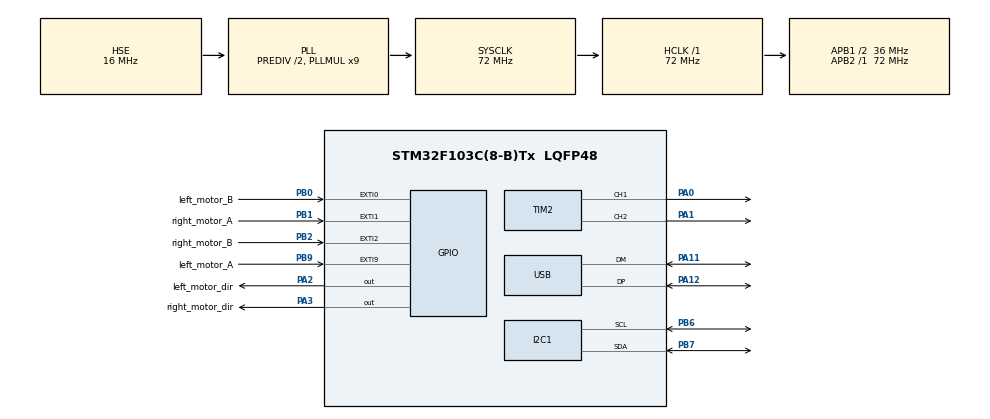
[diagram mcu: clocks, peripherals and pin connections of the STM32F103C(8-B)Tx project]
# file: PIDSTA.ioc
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Mcu.Family=STM32F1
Mcu.Name=STM32F103C(8-B)Tx
Mcu.Package=LQFP48
NVIC.EXTI0_IRQn=true\:0\:0\:false\:false\:true\:true\:true\:true
NVIC.EXTI1_IRQn=true\:0\:0\:false\:false\:true\:true\:true\:true
NVIC.EXTI2_IRQn=true\:0\:0\:false\:false\:true\:true\:true\:true
NVIC.EXTI9_5_IRQn=true\:0\:0\:false\:false\:true\:true\:true\:true
NVIC.PriorityGroup=NVIC_PRIORITYGROUP_4
NVIC.USB_LP_CAN1_RX0_IRQn=true\:0\:0\:false\:false\:true\:false\:true\:true
PA0-WKUP.Signal=S_TIM2_CH1_ETR
PA1.Signal=S_TIM2_CH2
PA11.Mode=Device
PA11.Signal=USB_DM
PA12.Mode=Device
PA12.Signal=USB_DP
PA13.Mode=Trace_Asynchronous_SW
PA13.Signal=SYS_JTMS-SWDIO
PA14.Mode=Trace_Asynchronous_SW
PA14.Signal=SYS_JTCK-SWCLK
PA2.GPIO_Label=left_motor_dir
PA2.Signal=GPIO_Output
PA3.GPIO_Label=right_motor_dir
PA3.Signal=GPIO_Output
PB0.GPIO_Label=left_motor_B
PB0.Signal=GPXTI0
PB1.GPIO_Label=right_motor_A
PB1.Signal=GPXTI1
PB2.GPIO_Label=right_motor_B
PB2.Signal=GPXTI2
PB3.Mode=Trace_Asynchronous_SW
PB3.Signal=SYS_JTDO-TRACESWO
PB6.Mode=I2C
PB6.Signal=I2C1_SCL
PB7.Mode=I2C
PB7.Signal=I2C1_SDA
PB9.GPIO_Label=left_motor_A
PB9.Signal=GPXTI9
PD0-OSC_IN.Mode=HSE-External-Oscillator
PD0-OSC_IN.Signal=RCC_OSC_IN
PD1-OSC_OUT.Mode=HSE-External-Oscillator
PD1-OSC_OUT.Signal=RCC_OSC_OUT
ProjectManager.HeapSize=0x200
ProjectManager.StackSize=0x400
ProjectManager.TargetToolchain=STM32CubeIDE
RCC.AHBFreq_Value=72000000
RCC.APB1CLKDivider=RCC_HCLK_DIV2
RCC.APB1Freq_Value=36000000
RCC.APB1TimFreq_Value=72000000
RCC.APB2Freq_Value=72000000
RCC.APB2TimFreq_Value=72000000
RCC.HCLKFreq_Value=72000000
RCC.HSEDivPLL=RCC_HSE_PREDIV_DIV2
RCC.HSE_VALUE=16000000
RCC.PLLMUL=RCC_PLL_MUL9
RCC.SYSCLKFreq_VALUE=72000000
RCC.SYSCLKSource=RCC_SYSCLKSOURCE_PLLCLK
RCC.USBFreq_Value=48000000
RCC.USBPrescaler=RCC_USBCLKSOURCE_PLL_DIV1_5
SH.S_TIM2_CH1_ETR.0=TIM2_CH1,PWM Generation1 CH1
SH.S_TIM2_CH2.0=TIM2_CH2,PWM Generation2 CH2
TIM2.AutoReloadPreload=TIM_AUTORELOAD_PRELOAD_ENABLE
TIM2.Channel-PWM\ Generation1\ CH1=TIM_CHANNEL_1
TIM2.Channel-PWM\ Generation2\ CH2=TIM_CHANNEL_2
USB_DEVICE.CLASS_NAME_FS=CDC
USB_DEVICE.VirtualMode=Cdc
USB_DEVICE.VirtualModeFS=Cdc_FS
VP_USB_DEVICE_VS_USB_DEVICE_CDC_FS.Mode=CDC_FS
board=custom

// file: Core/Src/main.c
/* USER CODE BEGIN Header */
/**
  ******************************************************************************
  * @file           : main.c
  * @brief          : Main program body
  ******************************************************************************
  * @attention
  *
  * Copyright (c) 2023 STMicroelectronics.
  * All rights reserved.
  *
  * This software is licensed under terms that can be found in the LICENSE file
  * in the root directory of this software component.
  * If no LICENSE file comes with this software, it is provided AS-IS.
  *
  ******************************************************************************
  */
/* USER CODE END Header */
#include "main.h"
#include "usb_device.h"

/* USER CODE BEGIN Includes */
#include "imu_f1.h"
#include "encoder.h"
/* USER CODE END Includes */

/* USER CODE BEGIN PD */
#define rad2deg  57.29567015
#define MAX_ANGLE 0.24
#define MIN_PWM 2
#define Kp 400
#define Ki 400
#define Kd 0.01
#define PWM_COUNTER 65535
#define PWM_CONV PWM_COUNTER/100
#define MOTOR_DEADZONE 0.01
#define Kp_pos 100
#define Ki_pos 0
/* USER CODE END PD */

/* USER CODE BEGIN PM */
void motor(double L, double R);
double abs2(double x);
/* USER CODE END PM */

I2C_HandleTypeDef hi2c1;

TIM_HandleTypeDef htim2;

/* USER CODE BEGIN PV */
encoder encoderA,encoderB;

int16_t encoderA_pos = 0;
double right_motor_pos = 0, left_motor_pos = 0;
double encoder_step = 0.00872664625997;
/* USER CODE END PV */

void SystemClock_Config(void);
static void MX_GPIO_Init(void);
static void MX_I2C1_Init(void);
static void MX_TIM2_Init(void);

/* USER CODE BEGIN 0 */

// to fix usbc_dc

//510 memset(pdev->pClassData,0,sizeof(USBD_CDC_HandleTypeDef)); // THIS LINE WAS ADDED

/* USER CODE END 0 */

int main(void)
{

  /* MCU Configuration--------------------------------------------------------*/

  /* Reset of all peripherals, Initializes the Flash interface and the Systick. */
  HAL_Init();

  /* Configure the system clock */
  SystemClock_Config();

  /* Initialize all configured peripherals */
  MX_GPIO_Init();
  MX_I2C1_Init();
  MX_USB_DEVICE_Init();
  MX_TIM2_Init();
  /* USER CODE BEGIN 2 */
  char  buff2[128];
  uint32_t t1,t2;

  imu_t mpu;
  uint16_t pwm;

  double control = 0;
  double dt = 10;
  const double th_bias = -.025;
  double angle_error = 0;
  double prev_angle_error = 0;
  double speed = 0;
  double last_pos = 0;
  double prev_speed = 0;
  double ss = 0;
  double sign;
  double integrator = 0;
  double dth = 0;
  double U1, U2;
  double delta = 0;
  double prev_dth = 0;
  double prev_delta = 0;
  const double F = 85;
     const double F1 = 0.3*sqrt(F);
     const double F2 = F*10;
     const double A = 2.8;
     const double K_th = 15;
     const double K_dth = 0.01;
     const double K_speed = 0;
     const double K_pos = 0;
  unsigned int reached_eq = 0;

 double Ppos = 0.05;
double Ipos = 0.0001;
double Dpos = 0.000000002;
double integrator2 = 0.00000;
double set_point = 0;

  HAL_TIM_PWM_Start(&htim2, TIM_CHANNEL_1);
  HAL_TIM_PWM_Start(&htim2, TIM_CHANNEL_2);

  //counter period 65535

  //initializing encoder variables
  encoder_init(&encoderA,GPIOB,right_motor_A_Pin,GPIOB,right_motor_B_Pin,encoder_step);
  encoder_init(&encoderB,GPIOB,left_motor_A_Pin,GPIOB,left_motor_B_Pin,encoder_step);

  //wait for the mpu to init.
  while (imu_init(&hi2c1) == 1) {
		  HAL_Delay(10);
		  sprintf(buff2,"waiting for the imu to boot, \r\n");
  }
  imu_tune(&hi2c1,&mpu);

  /* USER CODE END 2 */

  /* Infinite loop */
  /* USER CODE BEGIN WHILE */

  imu_read(&hi2c1,&mpu);
  angle_error = mpu.th + th_bias;
  prev_angle_error = angle_error;

  motor(30,30);
  HAL_Delay(100);
  motor(0,0);

  while (1)
  {
	  last_pos = encoderA.pos;
	  t1 = HAL_GetTick();
	  HAL_Delay(1);
	  imu_read(&hi2c1,&mpu);

	  imu_complimentary(&mpu,dt);

	  dth = (angle_error - prev_angle_error)/dt;
	  speed = (encoderA.pos - last_pos)/dt;
	  if (abs2(angle_error) < 0.05) {
		  if (abs2(integrator2) < 0.015) {
			  integrator2 = integrator2 + Ipos*encoderA.pos*dt;
		  }
		  set_point = Ppos*encoderA.pos + integrator2 + Dpos*speed;
	  }

	  angle_error = mpu.th + th_bias - set_point;

	  // apply control only if the system is upright
	  if (abs2(angle_error) < 0.3 && reached_eq == 1) {
		  delta = K_th*angle_error + K_dth*dth + K_speed*speed + K_pos*encoderA.pos;
		  ss = delta + (A*( delta - prev_delta))/dt;
		  U1 = sqrt(abs2(ss))*F1;
		  sign = ss > 0 ? 1 : -1;
		  if (abs2(integrator) < 85) {
			  integrator = integrator + F2*sign*dt;
		  }
		  control =  U1*sign + integrator;
		  control = control;

		  motor(control,control);
	  }
	  else {
		  reached_eq = abs2(angle_error) < 0.01 ? 1 : 0;
		  encoderA.pos = 0;
		  integrator = 0;
		  control = 0;
		  motor(0,0);
	  }
	  prev_delta = delta;
	  prev_angle_error = angle_error;
	  prev_speed = speed;

	  t2 = HAL_GetTick();
	  dt = ((double)(t2 - t1))/1000;
	  sprintf(buff2,"%f,%f,%f,%f,%f,%f,AAB\r\n",angle_error,encoderA.pos,dth,speed,control,set_point);
	  CDC_Transmit_FS((uint8_t*) buff2, strlen(buff2));

    /* USER CODE END WHILE */

  }
}

void SystemClock_Config(void)
{
  RCC_OscInitTypeDef RCC_OscInitStruct = {0};
  RCC_ClkInitTypeDef RCC_ClkInitStruct = {0};
  RCC_PeriphCLKInitTypeDef PeriphClkInit = {0};

  /** Initializes the RCC Oscillators according to the specified parameters
  * in the RCC_OscInitTypeDef structure.
  */
  RCC_OscInitStruct.OscillatorType = RCC_OSCILLATORTYPE_HSE;
  RCC_OscInitStruct.HSEState = RCC_HSE_ON;
  RCC_OscInitStruct.HSEPredivValue = RCC_HSE_PREDIV_DIV2;
  RCC_OscInitStruct.HSIState = RCC_HSI_ON;
  RCC_OscInitStruct.PLL.PLLState = RCC_PLL_ON;
  RCC_OscInitStruct.PLL.PLLSource = RCC_PLLSOURCE_HSE;
  RCC_OscInitStruct.PLL.PLLMUL = RCC_PLL_MUL9;
  if (HAL_RCC_OscConfig(&RCC_OscInitStruct) != HAL_OK)
  {
    Error_Handler();
  }

  /** Initializes the CPU, AHB and APB buses clocks
  */
  RCC_ClkInitStruct.ClockType = RCC_CLOCKTYPE_HCLK|RCC_CLOCKTYPE_SYSCLK
                              |RCC_CLOCKTYPE_PCLK1|RCC_CLOCKTYPE_PCLK2;
  RCC_ClkInitStruct.SYSCLKSource = RCC_SYSCLKSOURCE_PLLCLK;
  RCC_ClkInitStruct.AHBCLKDivider = RCC_SYSCLK_DIV1;
  RCC_ClkInitStruct.APB1CLKDivider = RCC_HCLK_DIV2;
  RCC_ClkInitStruct.APB2CLKDivider = RCC_HCLK_DIV1;

  if (HAL_RCC_ClockConfig(&RCC_ClkInitStruct, FLASH_LATENCY_2) != HAL_OK)
  {
    Error_Handler();
  }
  PeriphClkInit.PeriphClockSelection = RCC_PERIPHCLK_USB;
  PeriphClkInit.UsbClockSelection = RCC_USBCLKSOURCE_PLL_DIV1_5;
  if (HAL_RCCEx_PeriphCLKConfig(&PeriphClkInit) != HAL_OK)
  {
    Error_Handler();
  }
}

static void MX_I2C1_Init(void)
{

  hi2c1.Instance = I2C1;
  hi2c1.Init.ClockSpeed = 100000;
  hi2c1.Init.DutyCycle = I2C_DUTYCYCLE_2;
  hi2c1.Init.OwnAddress1 = 0;
  hi2c1.Init.AddressingMode = I2C_ADDRESSINGMODE_7BIT;
  hi2c1.Init.DualAddressMode = I2C_DUALADDRESS_DISABLE;
  hi2c1.Init.OwnAddress2 = 0;
  hi2c1.Init.GeneralCallMode = I2C_GENERALCALL_DISABLE;
  hi2c1.Init.NoStretchMode = I2C_NOSTRETCH_DISABLE;
  if (HAL_I2C_Init(&hi2c1) != HAL_OK)
  {
    Error_Handler();
  }

}

static void MX_TIM2_Init(void)
{

  TIM_MasterConfigTypeDef sMasterConfig = {0};
  TIM_OC_InitTypeDef sConfigOC = {0};

  htim2.Instance = TIM2;
  htim2.Init.Prescaler = 0;
  htim2.Init.CounterMode = TIM_COUNTERMODE_UP;
  htim2.Init.Period = 65535;
  htim2.Init.ClockDivision = TIM_CLOCKDIVISION_DIV1;
  htim2.Init.AutoReloadPreload = TIM_AUTORELOAD_PRELOAD_ENABLE;
  if (HAL_TIM_PWM_Init(&htim2) != HAL_OK)
  {
    Error_Handler();
  }
  sMasterConfig.MasterOutputTrigger = TIM_TRGO_RESET;
  sMasterConfig.MasterSlaveMode = TIM_MASTERSLAVEMODE_DISABLE;
  if (HAL_TIMEx_MasterConfigSynchronization(&htim2, &sMasterConfig) != HAL_OK)
  {
    Error_Handler();
  }
  sConfigOC.OCMode = TIM_OCMODE_PWM1;
  sConfigOC.Pulse = 0;
  sConfigOC.OCPolarity = TIM_OCPOLARITY_HIGH;
  sConfigOC.OCFastMode = TIM_OCFAST_DISABLE;
  if (HAL_TIM_PWM_ConfigChannel(&htim2, &sConfigOC, TIM_CHANNEL_1) != HAL_OK)
  {
    Error_Handler();
  }
  if (HAL_TIM_PWM_ConfigChannel(&htim2, &sConfigOC, TIM_CHANNEL_2) != HAL_OK)
  {
    Error_Handler();
  }
  HAL_TIM_MspPostInit(&htim2);

}

static void MX_GPIO_Init(void)
{
  GPIO_InitTypeDef GPIO_InitStruct = {0};

  /* GPIO Ports Clock Enable */
  __HAL_RCC_GPIOD_CLK_ENABLE();
  __HAL_RCC_GPIOA_CLK_ENABLE();
  __HAL_RCC_GPIOB_CLK_ENABLE();

  /*Configure GPIO pin Output Level */
  HAL_GPIO_WritePin(GPIOA, left_motor_dir_Pin|right_motor_dir_Pin, GPIO_PIN_RESET);

  /*Configure GPIO pins : left_motor_dir_Pin right_motor_dir_Pin */
  GPIO_InitStruct.Pin = left_motor_dir_Pin|right_motor_dir_Pin;
  GPIO_InitStruct.Mode = GPIO_MODE_OUTPUT_PP;
  GPIO_InitStruct.Pull = GPIO_NOPULL;
  GPIO_InitStruct.Speed = GPIO_SPEED_FREQ_LOW;
  HAL_GPIO_Init(GPIOA, &GPIO_InitStruct);

  /*Configure GPIO pins : left_motor_B_Pin right_motor_A_Pin right_motor_B_Pin left_motor_A_Pin */
  GPIO_InitStruct.Pin = left_motor_B_Pin|right_motor_A_Pin|right_motor_B_Pin|left_motor_A_Pin;
  GPIO_InitStruct.Mode = GPIO_MODE_IT_RISING;
  GPIO_InitStruct.Pull = GPIO_NOPULL;
  HAL_GPIO_Init(GPIOB, &GPIO_InitStruct);

  /* EXTI interrupt init*/
  HAL_NVIC_SetPriority(EXTI0_IRQn, 0, 0);
  HAL_NVIC_EnableIRQ(EXTI0_IRQn);

  HAL_NVIC_SetPriority(EXTI1_IRQn, 0, 0);
  HAL_NVIC_EnableIRQ(EXTI1_IRQn);

  HAL_NVIC_SetPriority(EXTI2_IRQn, 0, 0);
  HAL_NVIC_EnableIRQ(EXTI2_IRQn);

  HAL_NVIC_SetPriority(EXTI9_5_IRQn, 0, 0);
  HAL_NVIC_EnableIRQ(EXTI9_5_IRQn);

}

/* USER CODE BEGIN 4 */
void HAL_GPIO_EXTI_Callback(uint16_t GPIO_Pin)
{

    if (GPIO_Pin == right_motor_A_Pin) {
    	encoder_update(&encoderA);
    }
    if (GPIO_Pin == left_motor_A_Pin){
    	encoder_update(&encoderB);
    }

}
// takes input from -100 to 100.

void motor(double L, double R) {

	// constrain the inputs
	L = L > 100 ? 100 : L;
	R = R > 100 ? 100 : R;
	L = L < -100 ? -100 : L;
	R = R < -100 ? -100 : R;

	//change the direction pin.
	if (L < 0) {
		HAL_GPIO_WritePin(GPIOA, left_motor_dir_Pin, GPIO_PIN_SET);
		L = -1*L;
	}
	else {
		HAL_GPIO_WritePin(GPIOA, left_motor_dir_Pin, GPIO_PIN_RESET);
	}
	if (R > 0) {
		HAL_GPIO_WritePin(GPIOA, right_motor_dir_Pin, GPIO_PIN_SET);
	}
	else {
		HAL_GPIO_WritePin(GPIOA, right_motor_dir_Pin, GPIO_PIN_RESET);
		R = -1*R;
	}

	//deadzone compensation
	L = L > 2 && L < MOTOR_DEADZONE  ? MOTOR_DEADZONE : L;
	R = R > 2 && R < MOTOR_DEADZONE  ? MOTOR_DEADZONE : R;

	//convert to pwm tick count
	L = L*PWM_CONV;
	R = R*PWM_CONV;

	//write to timers.
	TIM2->CCR2 = R;
	TIM2->CCR1 = L;
}

double abs2(double x) {
	x = x < 0 ? -x : x;
	return x;
}
/* USER CODE END 4 */

void Error_Handler(void)
{
  /* USER CODE BEGIN Error_Handler_Debug */
	motor(0,0);
  /* User can add his own implementation to report the HAL error return state */
  __disable_irq();
  while (1)
  {
  }
  /* USER CODE END Error_Handler_Debug */
}
